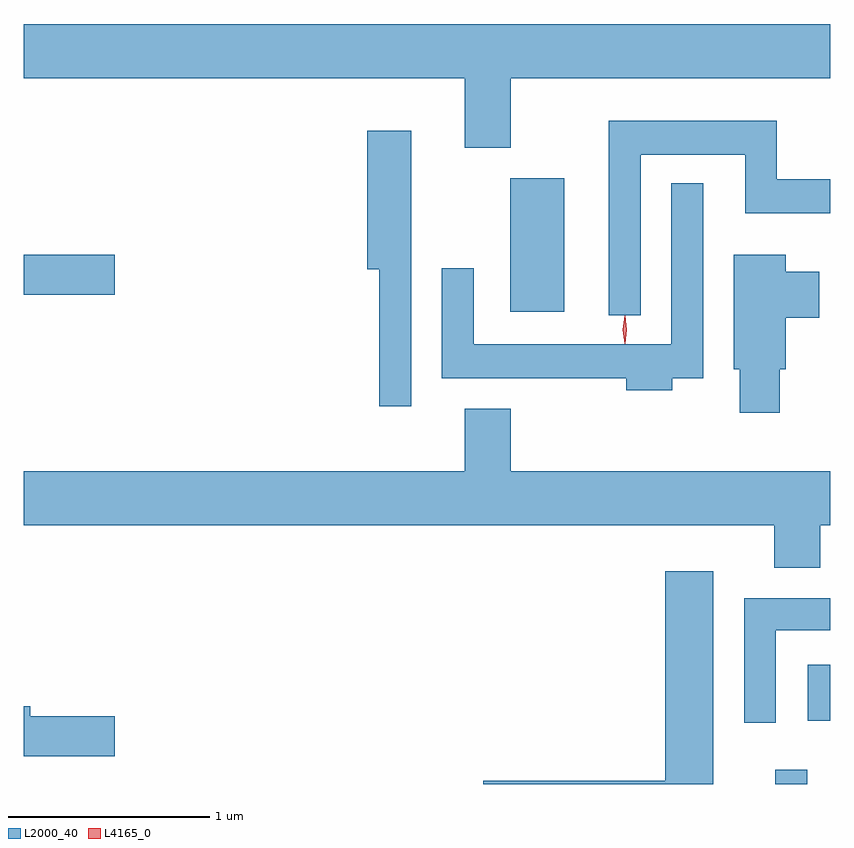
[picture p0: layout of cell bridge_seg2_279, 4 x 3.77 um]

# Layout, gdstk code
import gdstk
lib = gdstk.Library(unit=1e-6, precision=1e-09)
def R(c, l, rs):  # rectangles x0, y0, x1, y1
    for r in rs: c.add(gdstk.rectangle(r[:2], r[2:], *l))
def P(c, l, *ps):  # polygons
    for p in ps: c.add(gdstk.Polygon(p, *l))
L2000_40 = (2000, 40)
L4165_0 = (4165, 0)

bridge_seg2_279 = lib.new_cell('bridge_seg2_279')
R(bridge_seg2_279, L2000_40, [(550.321,1067.013,550.479,1067.083), (550.481,1067.326,550.593,1067.604), (549.006,1069.356,549.274,1070.019), (546.593,1069.441,547.044,1069.639)])
P(bridge_seg2_279, L2000_40, [(549.009,1070.516),(550.593,1070.516),(550.593,1070.784),(546.593,1070.784),(546.593,1070.516),(548.781,1070.516),(548.781,1070.171),(549.009,1070.171)],
  [(549.654,1070.136),(550.171,1070.136),(550.171,1069.846),(550.593,1069.846),(550.593,1070.014),(550.329,1070.014),(550.329,1070.304),(549.496,1070.304),(549.496,1069.338),(549.654,1069.338)],
  [(548.514,1070.254),(548.296,1070.254),(548.296,1069.566),(548.356,1069.566),(548.356,1068.888),(548.514,1068.888)],
  [(549.809,1069.026),(549.964,1069.026),(549.964,1069.993),(549.806,1069.993),(549.806,1069.194),(548.824,1069.194),(548.824,1069.573),(548.666,1069.573),(548.666,1069.026),(549.581,1069.026),(549.581,1068.966),(549.809,1068.966)],
  [(550.344,1069.071),(550.374,1069.071),(550.374,1069.326),(550.539,1069.326),(550.539,1069.554),(550.374,1069.554),(550.374,1069.639),(550.116,1069.639),(550.116,1069.071),(550.146,1069.071),(550.146,1068.856),(550.344,1068.856)],
  [(550.544,1068.296),(550.593,1068.296),(550.593,1068.564),(549.009,1068.564),(549.009,1068.874),(548.781,1068.874),(548.781,1068.564),(546.593,1068.564),(546.593,1068.296),(550.316,1068.296),(550.316,1068.086),(550.544,1068.086)],
  [(550.014,1068.069),(549.776,1068.069),(549.776,1067.029),(548.871,1067.029),(548.871,1067.013),(550.014,1067.013)],
  [(550.324,1067.776),(550.593,1067.776),(550.593,1067.934),(550.166,1067.934),(550.166,1067.318),(550.324,1067.318)],
  [(547.044,1067.349),(546.624,1067.349),(546.624,1067.399),(546.593,1067.399),(546.593,1067.151),(547.044,1067.151)])
P(bridge_seg2_279, L4165_0, [(549.574,1069.197),(549.565,1069.266),(549.574,1069.336),(549.575,1069.336),(549.576,1069.336),(549.585,1069.266),(549.576,1069.197),(549.575,1069.197)],
  [(549.575,1069.199),(549.575,1069.2),(549.565,1069.266),(549.574,1069.332),(549.575,1069.333),(549.575,1069.332),(549.585,1069.266),(549.576,1069.2)])

lib.write_gds('bridge_seg2_279.gds')
